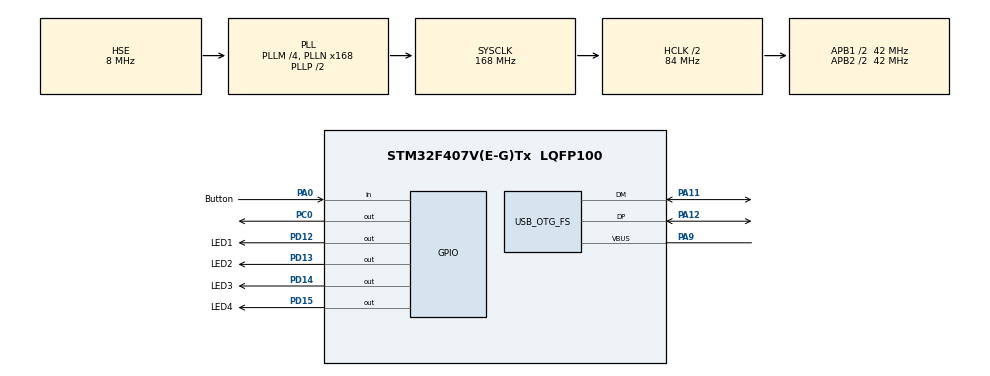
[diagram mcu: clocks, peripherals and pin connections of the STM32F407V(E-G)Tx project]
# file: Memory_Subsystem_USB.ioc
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FATFS._MAX_SS=4096
Mcu.Family=STM32F4
Mcu.Name=STM32F407V(E-G)Tx
Mcu.Package=LQFP100
NVIC.OTG_FS_IRQn=true\:0\:0\:false\:false\:true\:true\:true
NVIC.PriorityGroup=NVIC_PRIORITYGROUP_0
PA0-WKUP.GPIO_Label=Button
PA0-WKUP.Signal=GPIO_Input
PA11.Mode=Host_Only
PA11.Signal=USB_OTG_FS_DM
PA12.Mode=Host_Only
PA12.Signal=USB_OTG_FS_DP
PA9.Mode=Activate_VBUS
PA9.Signal=USB_OTG_FS_VBUS
PC0.Signal=GPIO_Output
PD12.GPIO_Label=LED1
PD12.Signal=GPIO_Output
PD13.GPIO_Label=LED2
PD13.Signal=GPIO_Output
PD14.GPIO_Label=LED3
PD14.Signal=GPIO_Output
PD15.GPIO_Label=LED4
PD15.Signal=GPIO_Output
PH0-OSC_IN.Mode=HSE-External-Oscillator
PH0-OSC_IN.Signal=RCC_OSC_IN
PH1-OSC_OUT.Mode=HSE-External-Oscillator
PH1-OSC_OUT.Signal=RCC_OSC_OUT
ProjectManager.HeapSize=0x200
ProjectManager.StackSize=0x400
ProjectManager.TargetToolchain=STM32CubeIDE
RCC.48MHZClocksFreq_Value=48000000
RCC.AHBCLKDivider=RCC_SYSCLK_DIV2
RCC.AHBFreq_Value=84000000
RCC.APB1CLKDivider=RCC_HCLK_DIV2
RCC.APB1Freq_Value=42000000
RCC.APB1TimFreq_Value=84000000
RCC.APB2CLKDivider=RCC_HCLK_DIV2
RCC.APB2Freq_Value=42000000
RCC.APB2TimFreq_Value=84000000
RCC.CortexFreq_Value=84000000
RCC.HCLKFreq_Value=84000000
RCC.HSE_VALUE=8000000
RCC.HSI_VALUE=16000000
RCC.PLLM=4
RCC.PLLN=168
RCC.PLLQ=7
RCC.SYSCLKFreq_VALUE=168000000
RCC.SYSCLKSource=RCC_SYSCLKSOURCE_PLLCLK
RCC.VCOOutputFreq_Value=336000000
USB_HOST.USBH_HandleTypeDef-MSC_FS=hUsbHostFS
USB_HOST.VirtualModeFS=Msc
USB_OTG_FS.VirtualMode=Host_Only
USB_OTG_FS.phy_itface=HCD_PHY_EMBEDDED
VP_FATFS_VS_USB.Mode=USB
VP_USB_HOST_VS_USB_HOST_MSC_FS.Mode=MSC_FS
board=STM32F407G-DISC1

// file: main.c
/* USER CODE BEGIN Header */
/**
  ******************************************************************************
  * @file           : main.c
  * @brief          : Main program body
  ******************************************************************************
  * @attention
  *
  * <h2><center>&copy; Copyright (c) 2021 STMicroelectronics.
  * All rights reserved.</center></h2>
  *
  * This software component is licensed by ST under Ultimate Liberty license
  * SLA0044, the "License"; You may not use this file except in compliance with
  * the License. You may obtain a copy of the License at:
  *                             www.st.com/SLA0044
  *
  ******************************************************************************
  */
/* USER CODE END Header */
#include "main.h"
#include "fatfs.h"
#include "usb_host.h"

/* USER CODE BEGIN Includes */
#include <string.h>
#include <stdbool.h>
/* USER CODE END Includes */

/* USER CODE BEGIN PV */
// USB Variables
extern ApplicationTypeDef Appli_state;		// USB state variable

// FATFS Variables
FATFS usbFATFS;								// File system object
extern char USBHPath[4];					// USBH logical drive path

// File IO Variables
FIL myFile;
FRESULT res;
UINT byteswritten, bytesread;
char rwbuf[100];							// read/write buffer

/* USER CODE END PV */

void SystemClock_Config(void);
static void MX_GPIO_Init(void);
void MX_USB_HOST_Process(void);

/* USER CODE BEGIN PFP */
// File read / write functions
bool USB_write(void);	// TODO: change function input to filename
bool USB_read(void);	// TODO: change function input to filename
/* USER CODE END PFP */

/* USER CODE BEGIN 0 */
bool USB_write(void)
{
	// Open a file for writing
	if (f_open(&myFile, "TEST.txt", FA_WRITE | FA_CREATE_ALWAYS) != FF_OK)
	{
		return 0;		// error opening file
	}

	// Write text to file
	sprintf(rwbuf, "Hello?\n*TAPTAPTAP*\nIs this thing on?");		// test text
	res = f_write(&myFile, (uint8_t *)rwbuf, strlen(rwbuf), &byteswritten);

	// Check for file write error
	if ((byteswritten == 0) || (res != FR_OK))
	{
		return 0;		// error writing to file
	}

	// Close file
	f_close(&myFile);
	return 1;			// file writing successful
}

bool USB_read(void)
{
	// Open a file for reading
	if (f_open(&myFile, "TEST.txt", FA_READ) != FR_OK)
	{
		return 0;		// error opening file
	}

	// Read text from file (stop at NULL)
	for (uint8_t i = 0; i < 100; i++)
	{
		res = f_read(&myFile, (uint8_t *)&rwbuf[i], 1, &bytesread);
		if (rwbuf[i] == 0x00)
		{
			bytesread = i;
			break;
		}
	}

	// Check for file read error
	if (bytesread == 0)
	{
		return 0;		// error reading file
	}

	// Close file
	f_close(&myFile);
	return 1;			// file reading successful
}
/* USER CODE END 0 */

int main(void)
{

  /* MCU Configuration--------------------------------------------------------*/

  /* Reset of all peripherals, Initializes the Flash interface and the Systick. */
  HAL_Init();

  /* Configure the system clock */
  SystemClock_Config();

  /* Initialize all configured peripherals */
  MX_GPIO_Init();
  MX_FATFS_Init();
  MX_USB_HOST_Init();

  /* Infinite loop */
  while (1)
  {
    MX_USB_HOST_Process();

    /* USER CODE BEGIN 3 */
    switch (Appli_state)
    {
    case APPLICATION_IDLE:
    	break;

    case APPLICATION_START:
    	if (f_mount(&usbFATFS, (TCHAR const*)USBHPath, 0) == FR_OK)
    	{
    		// Turn green LED on
    		HAL_GPIO_WritePin(LED1_GPIO_Port, LED1_Pin, GPIO_PIN_SET);
    	}
    	break;

    case APPLICATION_READY:
    	// Test USB_write() when pressing push button
    	if (HAL_GPIO_ReadPin(BUTTON_GPIO_Port, Button_Pin) == GPIO_PIN_SET)
    	{
    		if (USB_write())	// blue LED on success
    			HAL_GPIO_WritePin(LED4_GPIO_Port, LED4_Pin, GPIO_PIN_SET);
    		else				// red LED on error
    			HAL_GPIO_WritePin(LED3_GPIO_Port, LED3_Pin, GPIO_PIN_SET);

    		HAL_Delay(1000);
    	}

    	// Test USB_write() when pressing push button
    	/*if (HAL_GPIO_ReadPin(BUTTON_GPIO_Port, Button_Pin) == GPIO_PIN_SET)
		{
			if (USB_read())	// blue LED on success
				HAL_GPIO_WritePin(LED4_GPIO_Port, LED4_Pin, GPIO_PIN_SET);
			else			// red LED on error
				HAL_GPIO_WritePin(LED3_GPIO_Port, LED3_Pin, GPIO_PIN_SET);

			HAL_Delay(1000);
		}*/
    	break;

    case APPLICATION_DISCONNECT:
    	// Turn green LED off
    	HAL_GPIO_WritePin(LED1_GPIO_Port, LED1_Pin, GPIO_PIN_RESET);
    	break;
    }
  /* USER CODE END 3 */
}

void SystemClock_Config(void)
{
  RCC_OscInitTypeDef RCC_OscInitStruct = {0};
  RCC_ClkInitTypeDef RCC_ClkInitStruct = {0};

  /** Configure the main internal regulator output voltage
  */
  __HAL_RCC_PWR_CLK_ENABLE();
  __HAL_PWR_VOLTAGESCALING_CONFIG(PWR_REGULATOR_VOLTAGE_SCALE1);
  /** Initializes the RCC Oscillators according to the specified parameters
  * in the RCC_OscInitTypeDef structure.
  */
  RCC_OscInitStruct.OscillatorType = RCC_OSCILLATORTYPE_HSE;
  RCC_OscInitStruct.HSEState = RCC_HSE_ON;
  RCC_OscInitStruct.PLL.PLLState = RCC_PLL_ON;
  RCC_OscInitStruct.PLL.PLLSource = RCC_PLLSOURCE_HSE;
  RCC_OscInitStruct.PLL.PLLM = 4;
  RCC_OscInitStruct.PLL.PLLN = 168;
  RCC_OscInitStruct.PLL.PLLP = RCC_PLLP_DIV2;
  RCC_OscInitStruct.PLL.PLLQ = 7;
  if (HAL_RCC_OscConfig(&RCC_OscInitStruct) != HAL_OK)
  {
    Error_Handler();
  }
  /** Initializes the CPU, AHB and APB buses clocks
  */
  RCC_ClkInitStruct.ClockType = RCC_CLOCKTYPE_HCLK|RCC_CLOCKTYPE_SYSCLK
                              |RCC_CLOCKTYPE_PCLK1|RCC_CLOCKTYPE_PCLK2;
  RCC_ClkInitStruct.SYSCLKSource = RCC_SYSCLKSOURCE_PLLCLK;
  RCC_ClkInitStruct.AHBCLKDivider = RCC_SYSCLK_DIV2;
  RCC_ClkInitStruct.APB1CLKDivider = RCC_HCLK_DIV2;
  RCC_ClkInitStruct.APB2CLKDivider = RCC_HCLK_DIV2;

  if (HAL_RCC_ClockConfig(&RCC_ClkInitStruct, FLASH_LATENCY_2) != HAL_OK)
  {
    Error_Handler();
  }
}

static void MX_GPIO_Init(void)
{
  GPIO_InitTypeDef GPIO_InitStruct = {0};

  /* GPIO Ports Clock Enable */
  __HAL_RCC_GPIOH_CLK_ENABLE();
  __HAL_RCC_GPIOC_CLK_ENABLE();
  __HAL_RCC_GPIOA_CLK_ENABLE();
  __HAL_RCC_GPIOD_CLK_ENABLE();

  /*Configure GPIO pin Output Level */
  HAL_GPIO_WritePin(GPIOC, GPIO_PIN_0, GPIO_PIN_RESET);

  /*Configure GPIO pin Output Level */
  HAL_GPIO_WritePin(GPIOD, LED1_Pin|LED2_Pin|LED3_Pin|LED4_Pin, GPIO_PIN_RESET);

  /*Configure GPIO pin : PC0 */
  GPIO_InitStruct.Pin = GPIO_PIN_0;
  GPIO_InitStruct.Mode = GPIO_MODE_OUTPUT_PP;
  GPIO_InitStruct.Pull = GPIO_NOPULL;
  GPIO_InitStruct.Speed = GPIO_SPEED_FREQ_LOW;
  HAL_GPIO_Init(GPIOC, &GPIO_InitStruct);

  /*Configure GPIO pin : Button_Pin */
  GPIO_InitStruct.Pin = Button_Pin;
  GPIO_InitStruct.Mode = GPIO_MODE_INPUT;
  GPIO_InitStruct.Pull = GPIO_NOPULL;
  HAL_GPIO_Init(Button_GPIO_Port, &GPIO_InitStruct);

  /*Configure GPIO pins : LED1_Pin LED2_Pin LED3_Pin LED4_Pin */
  GPIO_InitStruct.Pin = LED1_Pin|LED2_Pin|LED3_Pin|LED4_Pin;
  GPIO_InitStruct.Mode = GPIO_MODE_OUTPUT_PP;
  GPIO_InitStruct.Pull = GPIO_NOPULL;
  GPIO_InitStruct.Speed = GPIO_SPEED_FREQ_LOW;
  HAL_GPIO_Init(GPIOD, &GPIO_InitStruct);

}

void Error_Handler(void)
{
  __disable_irq();
  while (1)
  {
  }
}

/************************ (C) COPYRIGHT STMicroelectronics *****END OF FILE****/
